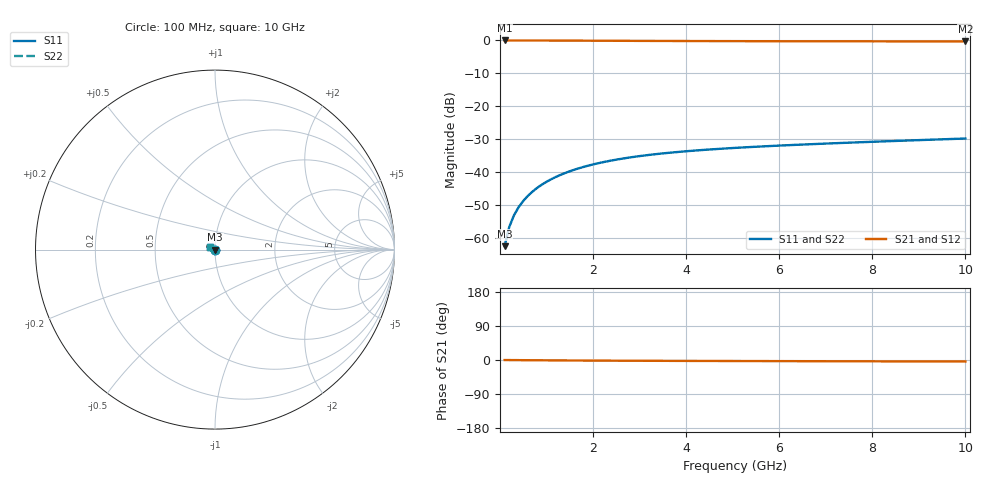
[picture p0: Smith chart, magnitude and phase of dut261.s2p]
! Touchstone file exported from HFSS 2024.1.0
!  File:  C:/UserFiles/LocalFiles/RDL_TSV_Batchsim/temp_TSV1_261_1779391535.aedt
!  Generated:  03:31:06 AM May 22, 2026
!  Design:  TSV1
!  Project:  temp_TSV1_261_1779391535
!  Setup:  Setup1
!  Solution:  Sweep
! Variables:
!  dtsv = 8.52um
!  hbump = 3um
!  htsv = 59.13um
!  lrdl = 252.1521522um
!  p = 40
!  p1 = 53.38um
!  t = 500um
!  trdl = 3um
!  wrdl = 24.89489489um
# GHz S MA R 50.000000
! Terminal data exported
! Port[1] = TSV22_T1
! Port[2] = TSV22_T2
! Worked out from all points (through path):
!   100 points, 100 MHz to 10 GHz, reference 50 ohm
!   highest |S21| = 0.00 dB at 100 MHz (marker M1); lowest = -0.3 dB at 10 GHz (marker M2)
!   lowest |S11| = -62.4 dB at 100 MHz (marker M3), VSWR 1.00, Z = 50 - j0.0748 ohm
!   |S11| at or under -10 dB: start of sweep to end of sweep
!   |S22| runs from -62.4 to -29.7 dB; largest |S21 - S12| = 2.2e-15
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0.1  0.0007605 -79.4  0.9998 -0.1  0.9998 -0.1  0.0007605 -79.4
! Gamma 0 0 0 0
! Port Impedance 50 0 50 0
0.2  0.001492 -87.8  0.9997 -0.2  0.9997 -0.2  0.001492 -87.8
0.3  0.002226 -92.1  0.9996 -0.3  0.9996 -0.3  0.002226 -92.1
0.4  0.002958 -95.3  0.9994 -0.4  0.9994 -0.4  0.002958 -95.3
0.5  0.003685 -98.0  0.9991 -0.5  0.9991 -0.5  0.003685 -98.0
0.6  0.004406 -100.6  0.9988 -0.5  0.9988 -0.5  0.004406 -100.6
0.7  0.005118 -102.9  0.9984 -0.6  0.9984 -0.6  0.005118 -102.9
0.8  0.005821 -105.2  0.998 -0.7  0.998 -0.7  0.005821 -105.2
0.9  0.006513 -107.4  0.9976 -0.8  0.9976 -0.8  0.006513 -107.4
1.1  0.007862 -111.6  0.9966 -1.0  0.9966 -1.0  0.007862 -111.6
1.4  0.00978 -117.6  0.9949 -1.2  0.9949 -1.2  0.00978 -117.6
1.6  0.01098 -121.4  0.9937 -1.3  0.9937 -1.3  0.01098 -121.4
1.8  0.01212 -125.1  0.9925 -1.4  0.9925 -1.4  0.01212 -125.1
2.1  0.0137 -130.3  0.9906 -1.6  0.9906 -1.6  0.0137 -130.3
2.5  0.0156 -136.7  0.9881 -1.8  0.9881 -1.8  0.0156 -136.7
2.9  0.01726 -142.7  0.9857 -2.0  0.9857 -2.0  0.01726 -142.7
3.4  0.01906 -149.5  0.9829 -2.2  0.9829 -2.2  0.01906 -149.5
4.2  0.02144 -159.1  0.9792 -2.5  0.9792 -2.5  0.02144 -159.1
5.1  0.02361 -168.2  0.9759 -2.7  0.9759 -2.7  0.02361 -168.2
6.7  0.02677 178.4  0.9718 -3.2  0.9718 -3.2  0.02677 178.4
8.4  0.02978 167.2  0.9689 -3.6  0.9689 -3.6  0.02978 167.2
10  0.03259 158.6  0.9671 -4.1  0.9671 -4.1  0.03259 158.6
